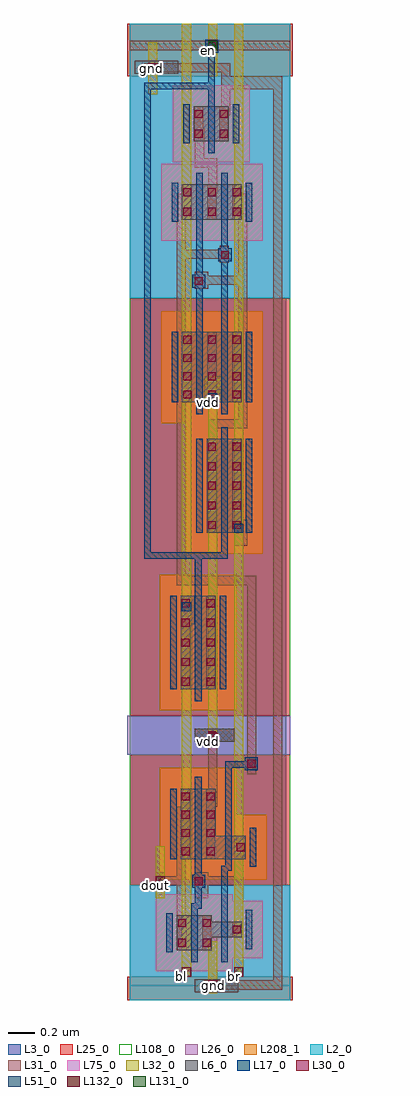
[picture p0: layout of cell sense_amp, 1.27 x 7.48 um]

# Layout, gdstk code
from math import pi, radians
import gdstk
lib = gdstk.Library(unit=1e-6, precision=1e-09)
def R(c, l, rs):  # rectangles x0, y0, x1, y1
    for r in rs: c.add(gdstk.rectangle(r[:2], r[2:], *l))
def A(c, l, x, y, w, h, nx, ny, dx, dy):  # array of equal rectangles
    R(c, l, [(x+i*dx, y+j*dy, x+i*dx+w, y+j*dy+h) for i in range(nx) for j in range(ny)])
L2_0 = (2, 0)
L3_0 = (3, 0)
L6_0 = (6, 0)
L17_0 = (17, 0)
L25_0 = (25, 0)
L26_0 = (26, 0)
L30_0 = (30, 0)
L31_0 = (31, 0)
L32_0 = (32, 0)
L51_0 = (51, 0)
L75_0 = (75, 0)
L108_0 = (108, 0)
L131_0 = (131, 0)
L132_0 = (132, 0)
L208_1 = (208, 1)

nch_mac_cdns_72492318264 = lib.new_cell('nch_mac_CDNS_724923182640')
R(nch_mac_cdns_72492318264, L6_0, [(-0.11,0,0,0.27), (0,0,0.05,0.27), (0.05,0,0.16,0.27)])
R(nch_mac_cdns_72492318264, L17_0, [(0,-0.09,0.05,0), (-0.19,-0.015,-0.14,0.285), (0.19,-0.015,0.24,0.285), (0,0,0.05,0.27), (0,0.27,0.05,0.36)])
R(nch_mac_cdns_72492318264, L26_0, [(-0.3,-0.2,-0.24,0.47), (-0.24,-0.2,0.29,0.47), (0.29,-0.2,0.35,0.47)])
R(nch_mac_cdns_72492318264, L30_0, [(-0.1,0.03,-0.04,0.09), (0.09,0.03,0.15,0.09), (-0.1,0.18,-0.04,0.24), (0.09,0.18,0.15,0.24)])
R(nch_mac_cdns_72492318264, L31_0, [(-0.105,0,-0.035,0.27), (0.085,0,0.155,0.27)])
R(nch_mac_cdns_72492318264, L75_0, [(-0.27,-0.16,0.32,0.43)])
R(nch_mac_cdns_72492318264, L208_1, [(-0.27,-0.16,0.32,0.43)])
nch_mac_cdns_72492318264.add(gdstk.Label('& SerialNumber 000000', (0,0), layer=63, texttype=63))
nch_mac_cdns_72492318264.add(gdstk.Label('& Distributor TSMC', (0,0), layer=63, texttype=63))
nch_mac_cdns_72492318264.add(gdstk.Label('& Metric 1', (0,0), layer=63, texttype=63))
nch_mac_cdns_72492318264.add(gdstk.Label('& PDK Version "tsmcN40_CRN40ULP_v1.5_2b_20200409"', (0,0), layer=63, texttype=63))
nch_mac_cdns_72492318264.add(gdstk.Label('& PDK TechNode "CRN40ULP"', (0,0), layer=63, texttype=63))
nch_mac_cdns_72492318264.add(gdstk.Label('& Product    tsmcN40_PDK', (0,0), layer=63, texttype=63))
nch_mac_cdns_72492318264.add(gdstk.Label('& Vendor     Taiwan Semiconductor manufacturing Corp.', (0,0), layer=63, texttype=63))
nch_mac_cdns_72492318264.add(gdstk.Label('[@instanceName]', (0.025,0.135), layer=127, texttype=0))
nch_mac_cdns_72492318264.add(gdstk.Label('0.27/0.05', (0,0), layer=127, texttype=0))
nch_mac_cdns_72492318264.add(gdstk.Label('nch_mac', (0,0.045), layer=127, texttype=0))
nch_mac_cdns_72492318264.add(gdstk.Label('D', (0.12,0.135), layer=127, texttype=0))
nch_mac_cdns_72492318264.add(gdstk.Label('S', (-0.07,0.135), layer=127, texttype=0))

pch_mac_cdns_72492318264 = lib.new_cell('pch_mac_CDNS_724923182641')
R(pch_mac_cdns_72492318264, L3_0, [(-0.27,-0.16,0.32,0.88)])
R(pch_mac_cdns_72492318264, L6_0, [(-0.11,0,0,0.72), (0,0,0.05,0.72), (0.05,0,0.16,0.72)])
A(pch_mac_cdns_72492318264, L17_0, -0.19, 0, 0.05, 0.72, 3, 1, 0.19, 0)
R(pch_mac_cdns_72492318264, L17_0, [(0,-0.09,0.05,0), (0,0.72,0.05,0.81)])
R(pch_mac_cdns_72492318264, L25_0, [(-0.3,-0.2,-0.24,0.92), (-0.24,-0.2,0.29,0.92), (0.29,-0.2,0.35,0.92)])
A(pch_mac_cdns_72492318264, L30_0, -0.1, 0.03, 0.06, 0.06, 1, 5, 0, 0.15)
A(pch_mac_cdns_72492318264, L30_0, 0.09, 0.03, 0.06, 0.06, 1, 5, 0, 0.15)
R(pch_mac_cdns_72492318264, L31_0, [(-0.105,0,-0.035,0.72), (0.085,0,0.155,0.72)])
R(pch_mac_cdns_72492318264, L208_1, [(-0.27,-0.16,0.32,0.88)])
pch_mac_cdns_72492318264.add(gdstk.Label('& SerialNumber 000000', (0,0), layer=63, texttype=63))
pch_mac_cdns_72492318264.add(gdstk.Label('& Distributor TSMC', (0,0), layer=63, texttype=63))
pch_mac_cdns_72492318264.add(gdstk.Label('& Metric 1', (0,0), layer=63, texttype=63))
pch_mac_cdns_72492318264.add(gdstk.Label('& PDK Version "tsmcN40_CRN40ULP_v1.5_2b_20200409"', (0,0), layer=63, texttype=63))
pch_mac_cdns_72492318264.add(gdstk.Label('& PDK TechNode "CRN40ULP"', (0,0), layer=63, texttype=63))
pch_mac_cdns_72492318264.add(gdstk.Label('& Product    tsmcN40_PDK', (0,0), layer=63, texttype=63))
pch_mac_cdns_72492318264.add(gdstk.Label('& Vendor     Taiwan Semiconductor manufacturing Corp.', (0,0), layer=63, texttype=63))
pch_mac_cdns_72492318264.add(gdstk.Label('[@instanceName]', (0.025,0.36), layer=127, texttype=0))
pch_mac_cdns_72492318264.add(gdstk.Label('0.72/0.05', (0,0), layer=127, texttype=0))
pch_mac_cdns_72492318264.add(gdstk.Label('pch_mac', (0,0.045), layer=127, texttype=0))
pch_mac_cdns_72492318264.add(gdstk.Label('D', (0.12,0.36), layer=127, texttype=0))
pch_mac_cdns_72492318264.add(gdstk.Label('S', (-0.07,0.36), layer=127, texttype=0))

c_pch_mac_cdns_72492318264 = lib.new_cell('pch_mac_CDNS_724923182642')
R(c_pch_mac_cdns_72492318264, L3_0, [(-0.27,-0.16,0.32,0.7)])
R(c_pch_mac_cdns_72492318264, L6_0, [(-0.11,0,0,0.54), (0,0,0.05,0.54), (0.05,0,0.16,0.54)])
R(c_pch_mac_cdns_72492318264, L17_0, [(0,-0.09,0.05,0), (0,0,0.05,0.54), (0.19,0,0.24,0.54), (0,0.54,0.05,0.63)])
R(c_pch_mac_cdns_72492318264, L25_0, [(-0.24,-0.2,0.29,0.74), (0.29,-0.2,0.35,0.74)])
A(c_pch_mac_cdns_72492318264, L30_0, -0.1, 0.03, 0.06, 0.06, 1, 4, 0, 0.14)
A(c_pch_mac_cdns_72492318264, L30_0, 0.09, 0.03, 0.06, 0.06, 1, 4, 0, 0.14)
R(c_pch_mac_cdns_72492318264, L31_0, [(-0.105,0,-0.035,0.54), (0.085,0,0.155,0.54)])
R(c_pch_mac_cdns_72492318264, L208_1, [(-0.27,-0.16,0.32,0.7)])
c_pch_mac_cdns_72492318264.add(gdstk.Label('& SerialNumber 000000', (0,0), layer=63, texttype=63))
c_pch_mac_cdns_72492318264.add(gdstk.Label('& Distributor TSMC', (0,0), layer=63, texttype=63))
c_pch_mac_cdns_72492318264.add(gdstk.Label('& Metric 1', (0,0), layer=63, texttype=63))
c_pch_mac_cdns_72492318264.add(gdstk.Label('& PDK Version "tsmcN40_CRN40ULP_v1.5_2b_20200409"', (0,0), layer=63, texttype=63))
c_pch_mac_cdns_72492318264.add(gdstk.Label('& PDK TechNode "CRN40ULP"', (0,0), layer=63, texttype=63))
c_pch_mac_cdns_72492318264.add(gdstk.Label('& Product    tsmcN40_PDK', (0,0), layer=63, texttype=63))
c_pch_mac_cdns_72492318264.add(gdstk.Label('& Vendor     Taiwan Semiconductor manufacturing Corp.', (0,0), layer=63, texttype=63))
c_pch_mac_cdns_72492318264.add(gdstk.Label('[@instanceName]', (0.025,0.27), layer=127, texttype=0))
c_pch_mac_cdns_72492318264.add(gdstk.Label('0.54/0.05', (0,0), layer=127, texttype=0))
c_pch_mac_cdns_72492318264.add(gdstk.Label('pch_mac', (0,0.045), layer=127, texttype=0))
c_pch_mac_cdns_72492318264.add(gdstk.Label('D', (0.12,0.27), layer=127, texttype=0))
c_pch_mac_cdns_72492318264.add(gdstk.Label('S', (-0.07,0.27), layer=127, texttype=0))

c_pch_mac_cdns_72492318264_ = lib.new_cell('pch_mac_CDNS_724923182643')
R(c_pch_mac_cdns_72492318264_, L3_0, [(-0.23,-0.16,0.32,0.34)])
R(c_pch_mac_cdns_72492318264_, L6_0, [(-0.07,0,0,0.18), (0,0,0.05,0.18), (0.05,0,0.16,0.18)])
R(c_pch_mac_cdns_72492318264_, L17_0, [(0,-0.09,0.05,0), (0.19,-0.06,0.24,0.24), (0,0,0.05,0.18), (0,0.18,0.05,0.27)])
R(c_pch_mac_cdns_72492318264_, L25_0, [(-0.2,-0.2,0.29,0.38), (0.29,-0.2,0.35,0.38)])
R(c_pch_mac_cdns_72492318264_, L30_0, [(0.09,0.06,0.15,0.12)])
R(c_pch_mac_cdns_72492318264_, L31_0, [(0.085,0,0.155,0.18)])
R(c_pch_mac_cdns_72492318264_, L208_1, [(-0.23,-0.16,0.32,0.34)])
c_pch_mac_cdns_72492318264_.add(gdstk.Label('& SerialNumber 000000', (0,0), layer=63, texttype=63))
c_pch_mac_cdns_72492318264_.add(gdstk.Label('& Distributor TSMC', (0,0), layer=63, texttype=63))
c_pch_mac_cdns_72492318264_.add(gdstk.Label('& Metric 1', (0,0), layer=63, texttype=63))
c_pch_mac_cdns_72492318264_.add(gdstk.Label('& PDK Version "tsmcN40_CRN40ULP_v1.5_2b_20200409"', (0,0), layer=63, texttype=63))
c_pch_mac_cdns_72492318264_.add(gdstk.Label('& PDK TechNode "CRN40ULP"', (0,0), layer=63, texttype=63))
c_pch_mac_cdns_72492318264_.add(gdstk.Label('& Product    tsmcN40_PDK', (0,0), layer=63, texttype=63))
c_pch_mac_cdns_72492318264_.add(gdstk.Label('& Vendor     Taiwan Semiconductor manufacturing Corp.', (0,0), layer=63, texttype=63))
c_pch_mac_cdns_72492318264_.add(gdstk.Label('[@instanceName]', (0.025,0.09), layer=127, texttype=0))
c_pch_mac_cdns_72492318264_.add(gdstk.Label('0.18/0.05', (0,0), layer=127, texttype=0))
c_pch_mac_cdns_72492318264_.add(gdstk.Label('pch_mac', (0,0.045), layer=127, texttype=0))
c_pch_mac_cdns_72492318264_.add(gdstk.Label('D', (0.12,0.09), layer=127, texttype=0))

c_nch_mac_cdns_72492318264 = lib.new_cell('nch_mac_CDNS_724923182644')
R(c_nch_mac_cdns_72492318264, L6_0, [(-0.11,0,0,0.27), (0,0,0.05,0.27), (0.05,0,0.16,0.27)])
R(c_nch_mac_cdns_72492318264, L17_0, [(0,-0.09,0.05,0), (0.19,-0.015,0.24,0.285), (0,0,0.05,0.27), (0,0.27,0.05,0.36)])
R(c_nch_mac_cdns_72492318264, L26_0, [(-0.24,-0.2,0.29,0.47), (0.29,-0.2,0.35,0.47)])
R(c_nch_mac_cdns_72492318264, L30_0, [(-0.1,0.03,-0.04,0.09), (0.09,0.03,0.15,0.09), (-0.1,0.18,-0.04,0.24), (0.09,0.18,0.15,0.24)])
R(c_nch_mac_cdns_72492318264, L31_0, [(-0.105,0,-0.035,0.27), (0.085,0,0.155,0.27)])
R(c_nch_mac_cdns_72492318264, L75_0, [(-0.27,-0.16,0.32,0.43)])
R(c_nch_mac_cdns_72492318264, L208_1, [(-0.27,-0.16,0.32,0.43)])
c_nch_mac_cdns_72492318264.add(gdstk.Label('& SerialNumber 000000', (0,0), layer=63, texttype=63))
c_nch_mac_cdns_72492318264.add(gdstk.Label('& Distributor TSMC', (0,0), layer=63, texttype=63))
c_nch_mac_cdns_72492318264.add(gdstk.Label('& Metric 1', (0,0), layer=63, texttype=63))
c_nch_mac_cdns_72492318264.add(gdstk.Label('& PDK Version "tsmcN40_CRN40ULP_v1.5_2b_20200409"', (0,0), layer=63, texttype=63))
c_nch_mac_cdns_72492318264.add(gdstk.Label('& PDK TechNode "CRN40ULP"', (0,0), layer=63, texttype=63))
c_nch_mac_cdns_72492318264.add(gdstk.Label('& Product    tsmcN40_PDK', (0,0), layer=63, texttype=63))
c_nch_mac_cdns_72492318264.add(gdstk.Label('& Vendor     Taiwan Semiconductor manufacturing Corp.', (0,0), layer=63, texttype=63))
c_nch_mac_cdns_72492318264.add(gdstk.Label('[@instanceName]', (0.025,0.135), layer=127, texttype=0))
c_nch_mac_cdns_72492318264.add(gdstk.Label('0.27/0.05', (0,0), layer=127, texttype=0))
c_nch_mac_cdns_72492318264.add(gdstk.Label('nch_mac', (0,0.045), layer=127, texttype=0))
c_nch_mac_cdns_72492318264.add(gdstk.Label('D', (0.12,0.135), layer=127, texttype=0))
c_nch_mac_cdns_72492318264.add(gdstk.Label('S', (-0.07,0.135), layer=127, texttype=0))

c_nch_mac_cdns_72492318264_ = lib.new_cell('nch_mac_CDNS_724923182645')
R(c_nch_mac_cdns_72492318264_, L6_0, [(-0.07,0,0,0.12), (0,0,0.05,0.12), (0.05,0,0.16,0.12)])
R(c_nch_mac_cdns_72492318264_, L17_0, [(0,-0.09,0.05,0), (0.19,-0.09,0.24,0.21), (0,0,0.05,0.12), (0,0.12,0.05,0.21)])
R(c_nch_mac_cdns_72492318264_, L26_0, [(-0.2,-0.2,0.29,0.32), (0.29,-0.2,0.35,0.32)])
R(c_nch_mac_cdns_72492318264_, L30_0, [(0.09,0.03,0.15,0.09)])
R(c_nch_mac_cdns_72492318264_, L31_0, [(0.085,0,0.155,0.12)])
R(c_nch_mac_cdns_72492318264_, L75_0, [(-0.23,-0.16,0.32,0.28)])
R(c_nch_mac_cdns_72492318264_, L208_1, [(-0.23,-0.16,0.32,0.28)])
c_nch_mac_cdns_72492318264_.add(gdstk.Label('& SerialNumber 000000', (0,0), layer=63, texttype=63))
c_nch_mac_cdns_72492318264_.add(gdstk.Label('& Distributor TSMC', (0,0), layer=63, texttype=63))
c_nch_mac_cdns_72492318264_.add(gdstk.Label('& Metric 1', (0,0), layer=63, texttype=63))
c_nch_mac_cdns_72492318264_.add(gdstk.Label('& PDK Version "tsmcN40_CRN40ULP_v1.5_2b_20200409"', (0,0), layer=63, texttype=63))
c_nch_mac_cdns_72492318264_.add(gdstk.Label('& PDK TechNode "CRN40ULP"', (0,0), layer=63, texttype=63))
c_nch_mac_cdns_72492318264_.add(gdstk.Label('& Product    tsmcN40_PDK', (0,0), layer=63, texttype=63))
c_nch_mac_cdns_72492318264_.add(gdstk.Label('& Vendor     Taiwan Semiconductor manufacturing Corp.', (0,0), layer=63, texttype=63))
c_nch_mac_cdns_72492318264_.add(gdstk.Label('[@instanceName]', (0.025,0.06), layer=127, texttype=0))
c_nch_mac_cdns_72492318264_.add(gdstk.Label('0.12/0.05', (0,0), layer=127, texttype=0))
c_nch_mac_cdns_72492318264_.add(gdstk.Label('nch_mac', (0,0.045), layer=127, texttype=0))
c_nch_mac_cdns_72492318264_.add(gdstk.Label('D', (0.12,0.06), layer=127, texttype=0))

c_pch_mac_cdns_72492318264__ = lib.new_cell('pch_mac_CDNS_724923182646')
R(c_pch_mac_cdns_72492318264__, L3_0, [(-0.19,-0.16,0.32,0.7)])
R(c_pch_mac_cdns_72492318264__, L6_0, [(-0.03,0,0,0.54), (0,0,0.05,0.54), (0.05,0,0.16,0.54)])
R(c_pch_mac_cdns_72492318264__, L17_0, [(0,-0.09,0.05,0), (0,0,0.05,0.54), (0.19,0,0.24,0.54), (0,0.54,0.05,0.63)])
R(c_pch_mac_cdns_72492318264__, L25_0, [(-0.16,-0.2,0.29,0.74), (0.29,-0.2,0.35,0.74)])
A(c_pch_mac_cdns_72492318264__, L30_0, 0.09, 0.03, 0.06, 0.06, 1, 4, 0, 0.14)
R(c_pch_mac_cdns_72492318264__, L31_0, [(0.085,0,0.155,0.54)])
R(c_pch_mac_cdns_72492318264__, L208_1, [(-0.19,-0.16,0.32,0.7)])
c_pch_mac_cdns_72492318264__.add(gdstk.Label('& SerialNumber 000000', (0,0), layer=63, texttype=63))
c_pch_mac_cdns_72492318264__.add(gdstk.Label('& Distributor TSMC', (0,0), layer=63, texttype=63))
c_pch_mac_cdns_72492318264__.add(gdstk.Label('& Metric 1', (0,0), layer=63, texttype=63))
c_pch_mac_cdns_72492318264__.add(gdstk.Label('& PDK Version "tsmcN40_CRN40ULP_v1.5_2b_20200409"', (0,0), layer=63, texttype=63))
c_pch_mac_cdns_72492318264__.add(gdstk.Label('& PDK TechNode "CRN40ULP"', (0,0), layer=63, texttype=63))
c_pch_mac_cdns_72492318264__.add(gdstk.Label('& Product    tsmcN40_PDK', (0,0), layer=63, texttype=63))
c_pch_mac_cdns_72492318264__.add(gdstk.Label('& Vendor     Taiwan Semiconductor manufacturing Corp.', (0,0), layer=63, texttype=63))
c_pch_mac_cdns_72492318264__.add(gdstk.Label('[@instanceName]', (0.025,0.27), layer=127, texttype=0))
c_pch_mac_cdns_72492318264__.add(gdstk.Label('0.54/0.05', (0,0), layer=127, texttype=0))
c_pch_mac_cdns_72492318264__.add(gdstk.Label('pch_mac', (0,0.045), layer=127, texttype=0))
c_pch_mac_cdns_72492318264__.add(gdstk.Label('D', (0.12,0.27), layer=127, texttype=0))

c_nch_mac_cdns_72492318264__ = lib.new_cell('nch_mac_CDNS_724923182647')
R(c_nch_mac_cdns_72492318264__, L6_0, [(-0.03,0,0,0.27), (0,0,0.05,0.27), (0.05,0,0.16,0.27)])
R(c_nch_mac_cdns_72492318264__, L17_0, [(0,-0.09,0.05,0), (0.19,-0.015,0.24,0.285), (0,0,0.05,0.27), (0,0.27,0.05,0.36)])
R(c_nch_mac_cdns_72492318264__, L26_0, [(-0.16,-0.2,0.29,0.47), (0.29,-0.2,0.35,0.47)])
R(c_nch_mac_cdns_72492318264__, L30_0, [(0.09,0.03,0.15,0.09), (0.09,0.18,0.15,0.24)])
R(c_nch_mac_cdns_72492318264__, L31_0, [(0.085,0,0.155,0.27)])
R(c_nch_mac_cdns_72492318264__, L75_0, [(-0.19,-0.16,0.32,0.43)])
R(c_nch_mac_cdns_72492318264__, L208_1, [(-0.19,-0.16,0.32,0.43)])
c_nch_mac_cdns_72492318264__.add(gdstk.Label('& SerialNumber 000000', (0,0), layer=63, texttype=63))
c_nch_mac_cdns_72492318264__.add(gdstk.Label('& Distributor TSMC', (0,0), layer=63, texttype=63))
c_nch_mac_cdns_72492318264__.add(gdstk.Label('& Metric 1', (0,0), layer=63, texttype=63))
c_nch_mac_cdns_72492318264__.add(gdstk.Label('& PDK Version "tsmcN40_CRN40ULP_v1.5_2b_20200409"', (0,0), layer=63, texttype=63))
c_nch_mac_cdns_72492318264__.add(gdstk.Label('& PDK TechNode "CRN40ULP"', (0,0), layer=63, texttype=63))
c_nch_mac_cdns_72492318264__.add(gdstk.Label('& Product    tsmcN40_PDK', (0,0), layer=63, texttype=63))
c_nch_mac_cdns_72492318264__.add(gdstk.Label('& Vendor     Taiwan Semiconductor manufacturing Corp.', (0,0), layer=63, texttype=63))
c_nch_mac_cdns_72492318264__.add(gdstk.Label('[@instanceName]', (0.025,0.135), layer=127, texttype=0))
c_nch_mac_cdns_72492318264__.add(gdstk.Label('0.27/0.05', (0,0), layer=127, texttype=0))
c_nch_mac_cdns_72492318264__.add(gdstk.Label('nch_mac', (0,0.045), layer=127, texttype=0))
c_nch_mac_cdns_72492318264__.add(gdstk.Label('D', (0.12,0.135), layer=127, texttype=0))

sense_amp = lib.new_cell('sense_amp')
R(sense_amp, L2_0, [(0,-0.08,1.23,0.8), (0,5.3,1.23,7.4)])
R(sense_amp, L3_0, [(0,0.8,1.2,5.3), (0,0.9,1.2,5.15)])
R(sense_amp, L6_0, [(0.5,-0.02,0.83,0.08), (0.5,1.9,0.8,2), (0.04,7.02,0.37,7.12)])
R(sense_amp, L17_0, [(0.7,0.21,0.75,0.55), (0.7,0.6,0.75,0.95), (0.5,0.62,0.55,1), (0.48,0.78,0.58,0.88), (0.73,1.2,0.78,1.7), (0.88,1.68,0.98,1.78), (0.73,1.7,0.96,1.75), (0.5,3.1,0.55,3.3), (0.11,3.3,0.7,3.35), (0.11,3.3,0.16,6.9), (0.7,3.3,0.75,3.5), (0.51,5.1,0.56,5.9), (0.7,5.1,0.75,5.9), (0.48,5.38,0.58,5.48), (0.68,5.58,0.78,5.68), (0.6,6.8,0.65,7.26), (0.11,6.9,0.6,6.95), (0.58,7.18,0.68,7.28)])
R(sense_amp, L25_0, [(-0.02,-0.08,1.25,0.1), (0,0.8,1.1,1.8), (1.1,0.8,1.23,1.8), (0,2.1,0.2,3.12), (0,2.1,0.2,3.11), (0.2,2.1,1,5.2), (1,2.1,1.23,5.3), (0,3.1,1.05,5.3), (-0.02,7,1.25,7.4)])
R(sense_amp, L26_0, [(0,0.1,0.87,0.2), (0.87,0.1,1.23,0.2), (0,0.2,1.1,0.8), (1.1,0.2,1.23,0.8), (-0.02,1.8,1.22,2.1), (1.1,1.8,1.23,2.1), (0,5.3,0.95,7), (0.95,5.3,1.23,7)])
R(sense_amp, L30_0, [(0.6,0,0.66,0.06), (0.5,0.8,0.56,0.86), (0.9,1.7,0.96,1.76), (0.6,1.92,0.66,1.98), (0.5,5.4,0.56,5.46), (0.7,5.6,0.76,5.66), (0.14,7.04,0.2,7.1), (0.6,7.2,0.66,7.26)])
R(sense_amp, L31_0, [(0.57,0,0.7,0.07), (0.6,0,1.1,0.07), (0.6,0,0.67,0.4), (1.1,0,1.17,6.9), (0.8,0.4,0.87,1.1), (0.36,0.5,0.43,1.4), (0.2,0.7,0.27,0.9), (0.5,0.7,0.6,0.9), (0.2,0.8,0.4,0.87), (0.5,0.8,0.8,0.87), (0.6,1.4,0.67,2), (0.9,1.65,0.97,3.1), (0.5,1.9,0.8,2), (0.4,2.8,0.5,3.02), (0.6,2.8,0.67,3.1), (0.36,3.1,0.43,6.1), (0.4,3.1,0.97,3.17), (0.8,3.4,0.9,3.6), (0.6,4.1,0.67,4.3), (0.6,4.3,0.86,4.37), (0.83,4.3,0.9,6.1), (0.57,4.5,0.7,4.6), (0.5,5.37,0.6,5.5), (0.5,5.4,0.86,5.47), (0.69,5.57,0.76,5.7), (0.4,5.6,0.76,5.67), (0.6,6.1,0.67,6.3), (0.6,6.2,0.67,6.3), (0.5,6.3,0.57,6.6), (0.5,6.3,0.67,6.37), (0.7,6.7,0.77,7), (0.7,6.9,1.17,7), (0.7,7,0.77,7.1), (0.11,7.03,0.77,7.1), (0,7.2,1.23,7.27)])
R(sense_amp, L32_0, [(0.6,-0.03,0.67,0.37), (0.4,0.1,0.47,7.4), (0.4,0.1,0.47,0.17), (0.8,0.1,0.87,7.4), (0.8,0.1,0.87,0.17), (0.2,0.7,0.27,1.1), (0.2,0.8,0.27,0.87), (0.6,1.87,0.67,4.57), (0.57,4.5,0.71,4.7), (0.14,6.86,0.21,7.26), (0.6,7,0.67,7.4), (0.14,7.03,0.21,7.1), (0.6,7.2,0.67,7.27)])
R(sense_amp, L51_0, [(0.6,0,0.67,0.07), (0.2,0.8,0.27,0.87), (0.6,1.9,0.67,1.97), (0.4,2.9,0.47,2.97), (0.8,3.5,0.87,3.57), (0.6,4.5,0.67,4.57), (0.14,7.03,0.21,7.1), (0.6,7.2,0.67,7.27)])
R(sense_amp, L108_0, [(0,0.03,1.23,7.25)])
R(sense_amp, L131_0, [(0.6,7.2,0.67,7.27)])
R(sense_amp, L132_0, [(0.6,0,0.67,0.07), (0.4,0.1,0.47,0.17), (0.8,0.1,0.87,0.17), (0.2,0.8,0.27,0.87), (0.6,1.9,0.67,1.97), (0.14,7.03,0.21,7.1)])
sense_amp.add(gdstk.Reference(nch_mac_cdns_72492318264, (0.65,6.5), rotation=pi, x_reflection=True))
sense_amp.add(gdstk.Reference(pch_mac_cdns_72492318264, (0.7,3.5)))
sense_amp.add(gdstk.Reference(pch_mac_cdns_72492318264, (0.55,2.3), rotation=pi, x_reflection=True))
sense_amp.add(gdstk.Reference(c_pch_mac_cdns_72492318264, (0.55,1), rotation=pi, x_reflection=True))
sense_amp.add(gdstk.Reference(c_pch_mac_cdns_72492318264, (0.56,4.5), rotation=pi, x_reflection=True))
sense_amp.add(gdstk.Reference(c_pch_mac_cdns_72492318264_, (0.73,1)))
sense_amp.add(gdstk.Reference(c_nch_mac_cdns_72492318264, (0.52,0.3), rotation=pi, x_reflection=True))
sense_amp.add(gdstk.Reference(c_nch_mac_cdns_72492318264, (0.56,5.9), rotation=pi, x_reflection=True))
sense_amp.add(gdstk.Reference(c_nch_mac_cdns_72492318264_, (0.7,0.4)))
sense_amp.add(gdstk.Reference(c_pch_mac_cdns_72492318264__, (0.7,4.5)))
sense_amp.add(gdstk.Reference(c_nch_mac_cdns_72492318264__, (0.7,5.9)))
sense_amp.add(gdstk.Label('vdd', (0.6,4.5), layer=127, texttype=0))
sense_amp.add(gdstk.Label('gnd', (0.17,7.06), layer=132, texttype=0))
sense_amp.add(gdstk.Label('vdd', (0.6,1.9), layer=132, texttype=0))
sense_amp.add(gdstk.Label('gnd', (0.64,0.03), layer=132, texttype=0))
sense_amp.add(gdstk.Label('dout', (0.2,0.8), layer=132, texttype=0))
sense_amp.add(gdstk.Label('br', (0.8,0.1), layer=132, texttype=0))
sense_amp.add(gdstk.Label('bl', (0.4,0.1), layer=132, texttype=0))
sense_amp.add(gdstk.Label('en', (0.6,7.2), layer=131, texttype=0))

lib.write_gds('sense_amp.gds')
